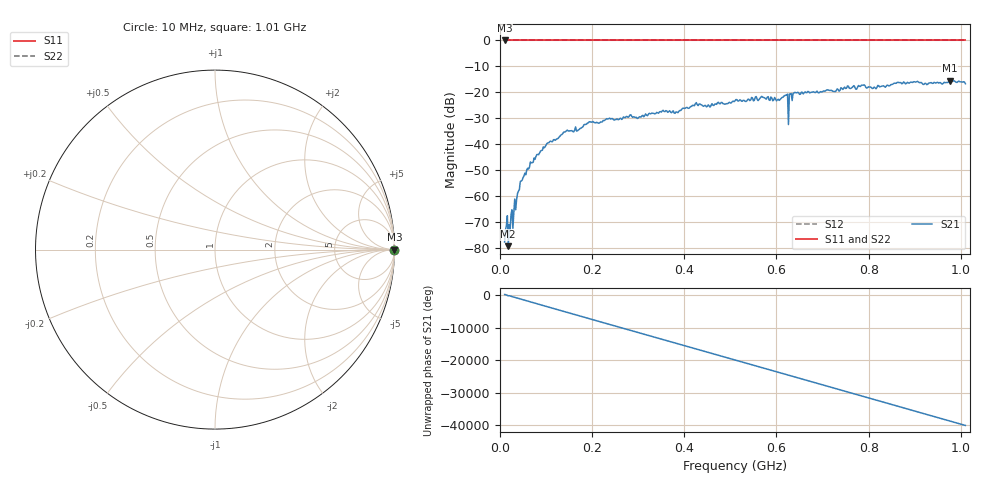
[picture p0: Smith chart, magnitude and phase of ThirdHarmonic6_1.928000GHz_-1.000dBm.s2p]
! 8/16/2025 11:14:34 PM
! C:\ANRITSUVNA\TEMP\TEMP.S2P
! CHANNEL.1
! TR.MEASUREMENT
! RAW.DATA
! RF.CORRECTION.OFF
! AVERAGING.OFF
! IF.BANDWIDTH: 5KHZ
! SWEEPTYPE:  FREQ.SWEEP(Linear)
! Reference Plane Port Info
! PORT:  PORT1  PORT2
! DISTANCE:  0  m  0  m
! TIME:  0  s  0  s
! PHASE.OFFSET:  0  deg.  0  deg.
! LOSS:  0  dB  0  dB
! REF.LOSS:  0  dB  0  dB
! REF.FREQ:  0  Hz  0  Hz
! Power Info
! POWER:  -20  dBm  -20  dBm
! EFF.POWER:  -20  dBm  -20  dBm
! SOURCE.ATTEN:  0  dB  0  dB
! TEST.ATTEN:  0  dB  0  dB
# GHZ S RI R 50.0
! FREQ.GHZ  S11RE  S11IM  S21RE  S21IM  S12RE  S12IM  S22RE  S22IM
!; PortSelection: Port_12
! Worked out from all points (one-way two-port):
!   501 points, 10 MHz to 1.01 GHz, reference 50 ohm
!   highest |S21| = -15.53 dB at 976 MHz (marker M1); lowest = -79.3 dB at 18 MHz (marker M2)
!   lowest |S11| = 0.0 dB at 10 MHz (marker M3)
!   |S11| at or under -10 dB: nowhere
!   |S22| runs from 0.0 to 0.0 dB; largest |S21 - S12| = 1.2
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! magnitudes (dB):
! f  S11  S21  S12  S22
! 10 MHz  0.0  -77.7  0.0  0.0
! 18 MHz  0.0  -79.3  0.0  0.0
! 32 MHz  0.0  -61.2  0.0  0.0
! 36 MHz  0.0  -61.5  0.0  0.0
! 48 MHz  0.0  -53.9  0.0  0.0
! 70 MHz  0.0  -47.2  0.0  0.0
! 106 MHz  0.0  -39.5  0.0  0.0
! 142 MHz  0.0  -35.2  0.0  0.0
! 178 MHz  0.0  -33.5  0.0  0.0
! 198 MHz  0.0  -31.5  0.0  0.0
! 344 MHz  0.0  -28.0  0.0  0.0
! 510 MHz  0.0  -23.3  0.0  0.0
! 604 MHz  0.0  -22.7  0.0  0.0
! 620 MHz  0.0  -21.1  0.0  0.0
! 622 MHz  0.0  -21.1  0.0  0.0
! 630 MHz  0.0  -20.7  0.0  0.0
! 632 MHz  0.0  -20.5  0.0  0.0
! 640 MHz  0.0  -20.0  0.0  0.0
! 678 MHz  0.0  -19.9  0.0  0.0
! 844 MHz  0.0  -17.6  0.0  0.0
! 976 MHz  0.0  -15.5  0.0  0.0
! 1.01 GHz  0.0  -16.7  0.0  0.0
